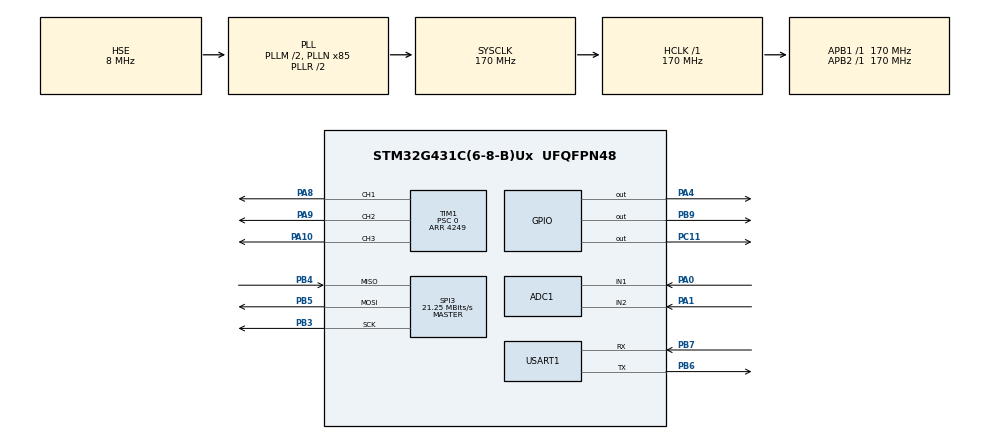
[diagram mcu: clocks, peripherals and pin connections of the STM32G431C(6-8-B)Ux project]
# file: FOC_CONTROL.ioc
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ADC1.DMAContinuousRequests=DISABLE
ADC1.EOCSelection=ADC_EOC_SINGLE_CONV
ADC1.EnableInjectedConversion=ENABLE
ADC1.EnableRegularConversion=DISABLE
ADC1.ExternalTrigInjecConv=ADC_EXTERNALTRIGINJEC_T1_TRGO
ADC1.InjNumberOfConversion=2
ADC1.InjectedChannel-7\#ChannelInjectedConversion=ADC_CHANNEL_1
ADC1.InjectedChannel-8\#ChannelInjectedConversion=ADC_CHANNEL_1
ADC1.InjectedOffsetNumber-7\#ChannelInjectedConversion=ADC_OFFSET_NONE
ADC1.InjectedOffsetNumber-8\#ChannelInjectedConversion=ADC_OFFSET_NONE
ADC1.InjectedRank-7\#ChannelInjectedConversion=1
ADC1.InjectedRank-8\#ChannelInjectedConversion=2
ADC1.InjectedSamplingTime-7\#ChannelInjectedConversion=ADC_SAMPLETIME_6CYCLES_5
ADC1.InjectedSamplingTime-8\#ChannelInjectedConversion=ADC_SAMPLETIME_6CYCLES_5
ADC1.Overrun=ADC_OVR_DATA_OVERWRITTEN
ADC1.Rank1_Channel=ADC_CHANNEL_1
ADC1.Rank2_Channel=ADC_CHANNEL_1
ADC1.Rank3_Channel=ADC_CHANNEL_1
ADC1.Rank4_Channel=ADC_CHANNEL_1
ADC1.master=1
Dma.Request0=USART1_TX
Dma.Request1=USART1_RX
Dma.USART1_RX.1.Direction=DMA_PERIPH_TO_MEMORY
Dma.USART1_RX.1.EventEnable=DISABLE
Dma.USART1_RX.1.Instance=DMA2_Channel2
Dma.USART1_RX.1.MemDataAlignment=DMA_MDATAALIGN_BYTE
Dma.USART1_RX.1.MemInc=DMA_MINC_ENABLE
Dma.USART1_RX.1.Mode=DMA_CIRCULAR
Dma.USART1_RX.1.PeriphDataAlignment=DMA_PDATAALIGN_BYTE
Dma.USART1_RX.1.PeriphInc=DMA_PINC_DISABLE
Dma.USART1_RX.1.Polarity=HAL_DMAMUX_REQ_GEN_RISING
Dma.USART1_RX.1.Priority=DMA_PRIORITY_LOW
Dma.USART1_RX.1.RequestNumber=1
Dma.USART1_RX.1.SignalID=NONE
Dma.USART1_RX.1.SyncEnable=DISABLE
Dma.USART1_RX.1.SyncPolarity=HAL_DMAMUX_SYNC_NO_EVENT
Dma.USART1_RX.1.SyncRequestNumber=1
Dma.USART1_RX.1.SyncSignalID=NONE
Dma.USART1_TX.0.Direction=DMA_MEMORY_TO_PERIPH
Dma.USART1_TX.0.EventEnable=DISABLE
Dma.USART1_TX.0.Instance=DMA2_Channel1
Dma.USART1_TX.0.MemDataAlignment=DMA_MDATAALIGN_BYTE
Dma.USART1_TX.0.MemInc=DMA_MINC_ENABLE
Dma.USART1_TX.0.Mode=DMA_NORMAL
Dma.USART1_TX.0.PeriphDataAlignment=DMA_PDATAALIGN_BYTE
Dma.USART1_TX.0.PeriphInc=DMA_PINC_DISABLE
Dma.USART1_TX.0.Polarity=HAL_DMAMUX_REQ_GEN_RISING
Dma.USART1_TX.0.Priority=DMA_PRIORITY_LOW
Dma.USART1_TX.0.RequestNumber=1
Dma.USART1_TX.0.SignalID=NONE
Dma.USART1_TX.0.SyncEnable=DISABLE
Dma.USART1_TX.0.SyncPolarity=HAL_DMAMUX_SYNC_NO_EVENT
Dma.USART1_TX.0.SyncRequestNumber=1
Dma.USART1_TX.0.SyncSignalID=NONE
FREERTOS.BinarySemaphores01=flashSem,Dynamic,NULL,Depleted
FREERTOS.Tasks01=ledThread,16,128,led_thread,Default,NULL,Dynamic,NULL,NULL;flashThread,17,256,flash_thread,As external,NULL,Dynamic,NULL,NULL;serialThread,18,512,serial_thread,As external,NULL,Dynamic,NULL,NULL;focControlThrea,20,512,FOC_Control,As external,NULL,Dynamic,NULL,NULL
FREERTOS.configCHECK_FOR_STACK_OVERFLOW=0
FREERTOS.configTOTAL_HEAP_SIZE=8192
FREERTOS.configUSE_COUNTING_SEMAPHORES=1
Mcu.Family=STM32G4
Mcu.Name=STM32G431C(6-8-B)Ux
Mcu.Package=UFQFPN48
NVIC.ADC1_2_IRQn=true\:5\:0\:false\:false\:true\:true\:true\:true\:true
NVIC.DMA2_Channel1_IRQn=true\:5\:0\:true\:false\:true\:false\:false\:true\:true
NVIC.DMA2_Channel2_IRQn=true\:5\:0\:true\:false\:true\:false\:false\:true\:true
NVIC.PriorityGroup=NVIC_PRIORITYGROUP_4
NVIC.SPI3_IRQn=true\:5\:0\:true\:false\:true\:true\:true\:true\:true
NVIC.TIM2_IRQn=true\:5\:0\:true\:false\:true\:false\:false\:true\:true
NVIC.TimeBase=TIM2_IRQn
NVIC.TimeBaseIP=TIM2
NVIC.USART1_IRQn=true\:7\:0\:true\:false\:true\:true\:true\:true\:true
PA0.Mode=IN1-Single-Ended
PA0.Signal=ADC1_IN1
PA1.Mode=IN2-Single-Ended
PA1.Signal=ADC1_IN2
PA10.Signal=S_TIM1_CH3
PA13.Mode=Serial_Wire
PA13.Signal=SYS_JTMS-SWDIO
PA14.Mode=Serial_Wire
PA14.Signal=SYS_JTCK-SWCLK
PA4.GPIO_PuPd=GPIO_PULLDOWN
PA4.GPIO_Speed=GPIO_SPEED_FREQ_MEDIUM
PA4.Signal=GPIO_Output
PA8.Signal=S_TIM1_CH1
PA9.Signal=S_TIM1_CH2
PB3.Mode=Full_Duplex_Master
PB3.Signal=SPI3_SCK
PB4.Mode=Full_Duplex_Master
PB4.Signal=SPI3_MISO
PB5.Mode=Full_Duplex_Master
PB5.Signal=SPI3_MOSI
PB6.Mode=Asynchronous
PB6.Signal=USART1_TX
PB7.Mode=Asynchronous
PB7.Signal=USART1_RX
PB9.GPIO_ModeDefaultOutputPP=GPIO_MODE_OUTPUT_PP
PB9.GPIO_PuPd=GPIO_PULLDOWN
PB9.GPIO_Speed=GPIO_SPEED_FREQ_HIGH
PB9.PinState=GPIO_PIN_RESET
PB9.Signal=GPIO_Output
PC11.GPIO_ModeDefaultOutputPP=GPIO_MODE_OUTPUT_PP
PC11.GPIO_PuPd=GPIO_PULLDOWN
PC11.GPIO_Speed=GPIO_SPEED_FREQ_HIGH
PC11.PinState=GPIO_PIN_SET
PC11.Signal=GPIO_Output
PF0-OSC_IN.Mode=HSE-External-Oscillator
PF0-OSC_IN.Signal=RCC_OSC_IN
PF1-OSC_OUT.Mode=HSE-External-Oscillator
PF1-OSC_OUT.Signal=RCC_OSC_OUT
ProjectManager.HeapSize=0x200
ProjectManager.StackSize=0x400
ProjectManager.TargetToolchain=CMake
RCC.ADC12Freq_Value=170000000
RCC.AHBFreq_Value=170000000
RCC.APB1Freq_Value=170000000
RCC.APB1TimFreq_Value=170000000
RCC.APB2Freq_Value=170000000
RCC.APB2TimFreq_Value=170000000
RCC.CortexFreq_Value=170000000
RCC.EXTERNAL_CLOCK_VALUE=12288000
RCC.HCLKFreq_Value=170000000
RCC.HSE_VALUE=8000000
RCC.HSI48_VALUE=48000000
RCC.HSI_VALUE=16000000
RCC.LSE_VALUE=32768
RCC.PLLM=RCC_PLLM_DIV2
RCC.PLLN=85
RCC.PLLSourceVirtual=RCC_PLLSOURCE_HSE
RCC.SYSCLKFreq_VALUE=170000000
RCC.SYSCLKSource=RCC_SYSCLKSOURCE_PLLCLK
RCC.USBFreq_Value=170000000
RCC.VCOOutputFreq_Value=340000000
RealThread.X-CUBE-RT-Thread_Nano.4.1.1.RT_DEBUG=0
RealThread.X-CUBE-RT-Thread_Nano.4.1.1.RT_USING_FINSH=1
RealThread.X-CUBE-RT-Thread_Nano.4.1.1.RT_USING_HEAP=1
RealThread.X-CUBE-RT-Thread_Nano.4.1.1.RT_USING_OVERFLOW_CHECK=1
RealThread.X-CUBE-RT-Thread_Nano.4.1.1.RT_USING_SMALL_MEM=1
RealThread.X-CUBE-RT-Thread_Nano.4.1.1.RT_USING_SMALL_MEM_AS_HEAP=1
SH.S_TIM1_CH1.0=TIM1_CH1,PWM Generation1 CH1
SH.S_TIM1_CH2.0=TIM1_CH2,PWM Generation2 CH2
SH.S_TIM1_CH3.0=TIM1_CH3,PWM Generation3 CH3
SPI3.BaudRatePrescaler=SPI_BAUDRATEPRESCALER_8
SPI3.CLKPhase=SPI_PHASE_2EDGE
SPI3.CLKPolarity=SPI_POLARITY_HIGH
SPI3.CRCCalculation=SPI_CRCCALCULATION_DISABLE
SPI3.CalculateBaudRate=21.25 MBits/s
SPI3.DataSize=SPI_DATASIZE_8BIT
SPI3.Direction=SPI_DIRECTION_2LINES
SPI3.Mode=SPI_MODE_MASTER
SPI3.VirtualType=VM_MASTER
TIM1.Channel-PWM\ Generation1\ CH1=TIM_CHANNEL_1
TIM1.Channel-PWM\ Generation2\ CH2=TIM_CHANNEL_2
TIM1.Channel-PWM\ Generation3\ CH3=TIM_CHANNEL_3
TIM1.CounterMode=TIM_COUNTERMODE_CENTERALIGNED1
TIM1.PeriodNoDither=4249
TIM1.Prescaler=0
TIM1.RepetitionCounter=0
TIM1.TIM_MasterOutputTrigger=TIM_TRGO_UPDATE
TIM1.TIM_MasterSlaveMode=TIM_MASTERSLAVEMODE_DISABLE
USART1.VirtualMode-Asynchronous=VM_ASYNC
VP_FREERTOS_VS_CMSIS_V2.Mode=CMSIS_V2
VP_SYS_VS_DBSignals.Mode=DisableDeadBatterySignals
VP_SYS_VS_tim2.Mode=TIM2
VP_TIM1_VS_ClockSourceINT.Mode=Internal
board=custom

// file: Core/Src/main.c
/* USER CODE BEGIN Header */
/**
  ******************************************************************************
  * @file           : main.c
  * @brief          : Main program body
  ******************************************************************************
  * @attention
  *
  * Copyright (c) 2026 STMicroelectronics.
  * All rights reserved.
  *
  * This software is licensed under terms that can be found in the LICENSE file
  * in the root directory of this software component.
  * If no LICENSE file comes with this software, it is provided AS-IS.
  *
  ******************************************************************************
  */
/* USER CODE END Header */
#include "main.h"
#include "cmsis_os.h"
#include "adc.h"
#include "dma.h"
#include "spi.h"
#include "tim.h"
#include "usart.h"
#include "gpio.h"

/* USER CODE BEGIN Includes */
#include "dwt.h"
#include "foc_thread.h"
#include "BLDCMotor.h"
#include "flash_thread.h"
/* USER CODE END Includes */

/* USER CODE BEGIN PV */
volatile uint16_t adc_buf[2] = {0};
/* USER CODE END PV */

void SystemClock_Config(void);
void MX_FREERTOS_Init(void);

int main(void)
{

  /* MCU Configuration--------------------------------------------------------*/

  /* Reset of all peripherals, Initializes the Flash interface and the Systick. */
  HAL_Init();

  /* Configure the system clock */
  SystemClock_Config();

  /* Initialize all configured peripherals */
  MX_GPIO_Init();
  MX_DMA_Init();
  MX_USART1_UART_Init();
  MX_TIM1_Init();
  MX_SPI3_Init();
  MX_ADC1_Init();
  /* USER CODE BEGIN 2 */
  read_flash_data();                                                        // 从flash读取数据
  DWT_Init(170);                                               // 初始化DWT

  DWT_Delay_ms(1000);

  Foc_Pwm_Start();																	                        // 设置PWM占空比
	FOC_Align(&motor);                                                 // 电角度零点对齐
  HAL_TIM_Base_Start(&htim1);                                         // 启动TIM1基础定时器
  if (HAL_ADCEx_InjectedStart_IT(&hadc1) != HAL_OK)                   // 启动ADC注入中断触发
  {
    Error_Handler();
  }
  /* USER CODE END 2 */

  /* Init scheduler */
  osKernelInitialize();  /* Call init function for freertos objects (in cmsis_os2.c) */
  MX_FREERTOS_Init();

  /* Start scheduler */
  osKernelStart();

  /* We should never get here as control is now taken by the scheduler */

  /* Infinite loop */
  while (1)
  {

    /* USER CODE BEGIN 3 */
    vTaskDelay(1000);
  }
  /* USER CODE END 3 */
}

void SystemClock_Config(void)
{
  RCC_OscInitTypeDef RCC_OscInitStruct = {0};
  RCC_ClkInitTypeDef RCC_ClkInitStruct = {0};

  /** Configure the main internal regulator output voltage
  */
  HAL_PWREx_ControlVoltageScaling(PWR_REGULATOR_VOLTAGE_SCALE1_BOOST);

  /** Initializes the RCC Oscillators according to the specified parameters
  * in the RCC_OscInitTypeDef structure.
  */
  RCC_OscInitStruct.OscillatorType = RCC_OSCILLATORTYPE_HSE;
  RCC_OscInitStruct.HSEState = RCC_HSE_ON;
  RCC_OscInitStruct.PLL.PLLState = RCC_PLL_ON;
  RCC_OscInitStruct.PLL.PLLSource = RCC_PLLSOURCE_HSE;
  RCC_OscInitStruct.PLL.PLLM = RCC_PLLM_DIV2;
  RCC_OscInitStruct.PLL.PLLN = 85;
  RCC_OscInitStruct.PLL.PLLP = RCC_PLLP_DIV2;
  RCC_OscInitStruct.PLL.PLLQ = RCC_PLLQ_DIV2;
  RCC_OscInitStruct.PLL.PLLR = RCC_PLLR_DIV2;
  if (HAL_RCC_OscConfig(&RCC_OscInitStruct) != HAL_OK)
  {
    Error_Handler();
  }

  /** Initializes the CPU, AHB and APB buses clocks
  */
  RCC_ClkInitStruct.ClockType = RCC_CLOCKTYPE_HCLK|RCC_CLOCKTYPE_SYSCLK
                              |RCC_CLOCKTYPE_PCLK1|RCC_CLOCKTYPE_PCLK2;
  RCC_ClkInitStruct.SYSCLKSource = RCC_SYSCLKSOURCE_PLLCLK;
  RCC_ClkInitStruct.AHBCLKDivider = RCC_SYSCLK_DIV1;
  RCC_ClkInitStruct.APB1CLKDivider = RCC_HCLK_DIV1;
  RCC_ClkInitStruct.APB2CLKDivider = RCC_HCLK_DIV1;

  if (HAL_RCC_ClockConfig(&RCC_ClkInitStruct, FLASH_LATENCY_4) != HAL_OK)
  {
    Error_Handler();
  }
}

void HAL_TIM_PeriodElapsedCallback(TIM_HandleTypeDef *htim)
{
  if (htim->Instance == TIM2)
  {
    HAL_IncTick();
  }
}

void Error_Handler(void)
{
  __disable_irq();
  while (1)
  {
  }
}

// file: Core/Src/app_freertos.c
/* USER CODE BEGIN Header */
/**
  ******************************************************************************
  * File Name          : app_freertos.c
  * Description        : Code for freertos applications
  ******************************************************************************
  * @attention
  *
  * Copyright (c) 2026 STMicroelectronics.
  * All rights reserved.
  *
  * This software is licensed under terms that can be found in the LICENSE file
  * in the root directory of this software component.
  * If no LICENSE file comes with this software, it is provided AS-IS.
  *
  ******************************************************************************
  */
/* USER CODE END Header */

#include "FreeRTOS.h"
#include "task.h"
#include "main.h"
#include "cmsis_os.h"

/* USER CODE BEGIN Includes */
#include "led.h"
#include "flash_thread.h"
#include "serial_thread.h"
#include "foc_thread.h"

/* USER CODE END Includes */

/* Definitions for ledThread */
osThreadId_t ledThreadHandle;
const osThreadAttr_t ledThread_attributes = {
  .name = "ledThread",
  .priority = (osPriority_t) osPriorityBelowNormal,
  .stack_size = 128 * 4
};
/* Definitions for flashThread */
osThreadId_t flashThreadHandle;
const osThreadAttr_t flashThread_attributes = {
  .name = "flashThread",
  .priority = (osPriority_t) osPriorityBelowNormal1,
  .stack_size = 256 * 4
};
/* Definitions for serialThread */
osThreadId_t serialThreadHandle;
const osThreadAttr_t serialThread_attributes = {
  .name = "serialThread",
  .priority = (osPriority_t) osPriorityBelowNormal2,
  .stack_size = 512 * 4
};
/* Definitions for focControlThrea */
osThreadId_t focControlThreaHandle;
const osThreadAttr_t focControlThrea_attributes = {
  .name = "focControlThrea",
  .priority = (osPriority_t) osPriorityBelowNormal4,
  .stack_size = 512 * 4
};
/* Definitions for flashSem */
osSemaphoreId_t flashSemHandle;
const osSemaphoreAttr_t flashSem_attributes = {
  .name = "flashSem"
};

void led_thread(void *argument);
extern void flash_thread(void *argument);
extern void serial_thread(void *argument);
extern void FOC_Control(void *argument);

void MX_FREERTOS_Init(void); /* (MISRA C 2004 rule 8.1) */

void MX_FREERTOS_Init(void) {

  /* Create the semaphores(s) */
  /* creation of flashSem */
  flashSemHandle = osSemaphoreNew(1, 0, &flashSem_attributes);

  /* Create the thread(s) */
  /* creation of ledThread */
  ledThreadHandle = osThreadNew(led_thread, NULL, &ledThread_attributes);

  /* creation of flashThread */
  flashThreadHandle = osThreadNew(flash_thread, NULL, &flashThread_attributes);

  /* creation of serialThread */
  serialThreadHandle = osThreadNew(serial_thread, NULL, &serialThread_attributes);

  /* creation of focControlThrea */
  focControlThreaHandle = osThreadNew(FOC_Control, NULL, &focControlThrea_attributes);

}

void led_thread(void *argument)
{
  /* USER CODE BEGIN led_thread */
  /* Infinite loop */
  for(;;)
  {
    LED_TOGGLE();
    osDelay(500);
  }
  /* USER CODE END led_thread */
}
